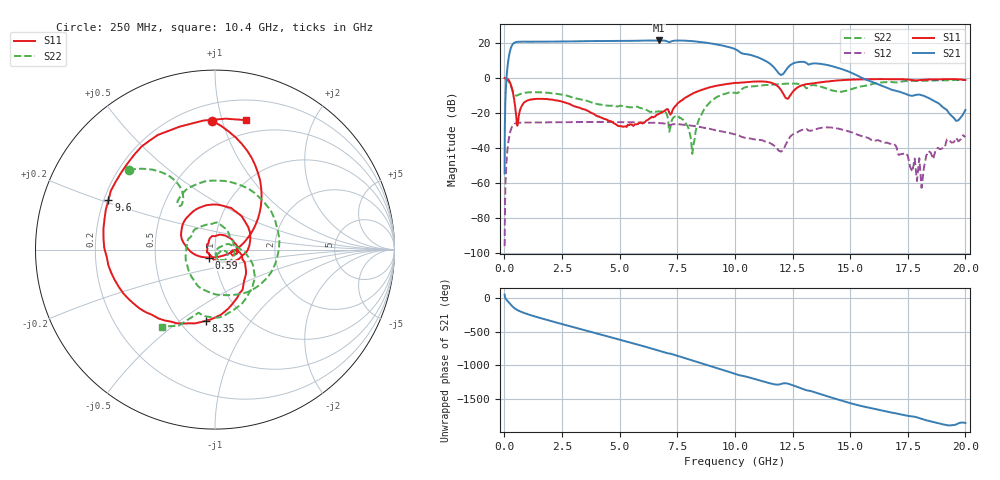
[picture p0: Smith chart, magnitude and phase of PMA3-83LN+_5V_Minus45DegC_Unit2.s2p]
!Mini-Circuits Laboratory
!Date: 9/18/2015 at 7:47:55 AM
!S2P DATA File Format
!Type: MMIC Amplifier
!Model: PMA3-83LN+
!S/N: Unit 2
!Fixture: Unit soldered on TB-830A+ RUN  MN61900 D/C 1537, no port extension
!PIN OUT: PORT 1 - PIN 2, PORT 2 - PIN 8, GROUND - PADDLE, DC POWER SUPPLY - PIN 8, NOT CONNECTED - PINS 1,3 to 7, 9 to 12
!TEST CONDITIONS: Temp= -45 (Deg C) RF Power= -25.00 (dBm) V limit=5(V) I limit=150(mA) Z=50 OHM
!WAFER/LOT#: CP483P004-02, CP483P004-03,CP483P004-04,
!Network Analyzer: PNA-X N5242A S/N 71404 CAL DUE: 09/10/2016
!P.Supply/Multimeter: HP E3632A S/N 63249 CAL DUE: 12/11/2015
!Power Meter: Agilent U2000A S/N 74434 CAL DUE: 10/17/2015
# Hz  S  dB  R  50
!Frequency  S11 dB  S11 Deg  S21 dB  S21 Deg  S12 dB  S12 Deg  S22 dB  S22 Deg
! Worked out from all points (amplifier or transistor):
!   380 points, 10 MHz to 20 GHz, reference 50 ohm
!   highest |S21| = 21.3 dB at 6.7 GHz (marker M1)
!   |S21| within 3 dB of that: 322.8 MHz to 9.491 GHz (9.168 GHz wide, 187 % of centre)
!   unconditionally stable (mu >= 1): 10.26 MHz to end of sweep
!   at 640 MHz: K = 1.10, MAG = 21.1 dB, |S12| = -25.6 dB
!   at 5.55 GHz: K = 1.11, MAG = 21.2 dB, |S12| = -25.4 dB
!   at 20 GHz: K = 13.59, MAG = -6.6 dB, |S12| = -33.8 dB
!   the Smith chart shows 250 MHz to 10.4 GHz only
!   S11 on the Smith chart (normalised r, x): 250 MHz: 0.31, +0.93; 590 MHz: 0.93, -0.08; 8.35 GHz: 0.67, -0.63; 9.6 GHz: 0.22, +0.21; 10.4 GHz: 0.37, +1.20
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1e7  -0.11 173.9  -54.58 46.0  -95.99 -17.6  0.00 -35.4
2.5e8  -2.88 91.4  15.54 -93.2  -31.05 101.0  -3.69 137.3
5.9e8  -25.24 -126.0  20.49 172.6  -25.69 7.0  -9.89 129.6
1.25e9  -12.19 119.0  20.55 90.0  -25.48 -68.3  -8.26 81.5
2.1e9  -12.51 50.2  20.61 7.4  -25.39 -139.4  -8.84 6.9
2.8e9  -14.81 -1.1  20.67 -57.5  -25.34 165.5  -10.54 -53.0
3.35e9  -17.50 -27.0  20.83 -107.7  -25.21 123.1  -12.48 -99.7
4.2e9  -22.67 -67.0  20.96 173.8  -25.19 56.7  -15.34 -162.7
5.1e9  -27.71 -136.9  21.01 90.7  -25.35 -13.6  -16.06 132.7
5.95e9  -25.85 146.2  21.13 11.4  -25.51 -80.3  -17.45 68.2
6.7e9  -20.63 59.1  21.26 -61.1  -25.80 -140.8  -19.16 -1.5
7.3e9  -18.43 -2.4  20.97 -116.3  -26.53 174.9  -23.22 -12.7
7.7e9  -12.88 -42.1  21.20 -159.1  -26.66 140.0  -23.57 -61.0
8.35e9  -7.97 -97.3  20.64 132.3  -27.76 86.3  -27.71 26.5
8.85e9  -5.67 -138.0  19.80 79.2  -29.02 47.1  -15.03 -8.7
9.6e9  -3.68 155.1  17.92 -0.2  -31.02 -7.6  -9.04 -73.2
1.01e10  -2.94 106.0  15.70 -56.0  -32.63 -42.6  -8.79 -104.6
1.04e10  -2.59 76.4  13.61 -78.3  -34.08 -61.5  -5.65 -124.7
1.12e10  -2.12 -4.3  10.48 -154.4  -35.67 -106.5  -4.32 163.5
1.34e10  -3.15 -113.1  8.16 50.7  -29.81 139.8  -4.17 -0.4
1.67e10  -0.80 -9.4  -6.23 109.7  -37.51 -163.9  -2.43 29.4
2e10  -1.30 146.1  -18.31 -49.0  -33.82 136.5  -1.25 162.6
